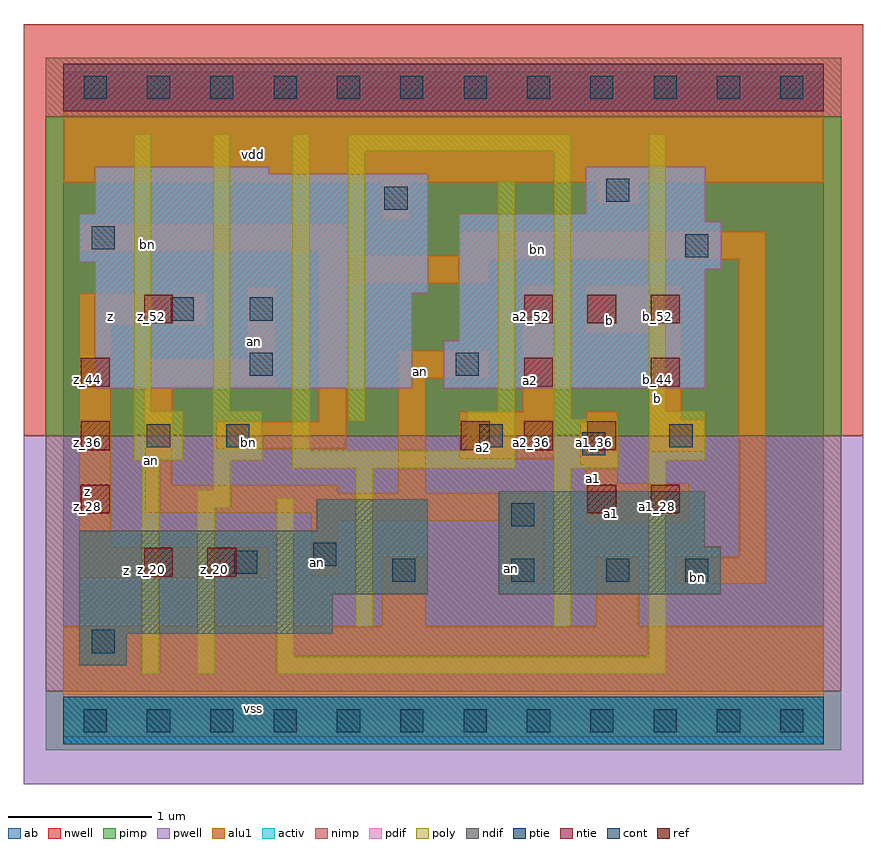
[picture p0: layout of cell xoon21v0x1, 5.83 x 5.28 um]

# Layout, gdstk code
import gdstk
lib = gdstk.Library(unit=1e-6, precision=2.5e-09)
def R(c, l, rs):  # rectangles x0, y0, x1, y1
    for r in rs: c.add(gdstk.rectangle(r[:2], r[2:], *l))
def A(c, l, x, y, w, h, nx, ny, dx, dy):  # array of equal rectangles
    R(c, l, [(x+i*dx, y+j*dy, x+i*dx+w, y+j*dy+h) for i in range(nx) for j in range(ny)])
ndif = (3, 0)
pdif = (4, 0)
ntie = (5, 0)
ptie = (6, 0)
ref = (24, 0)
cont = (25, 0)
pwell = (41, 0)
nwell = (42, 0)
activ = (43, 0)
pimp = (44, 0)
nimp = (45, 0)
poly = (46, 0)
alu1 = (49, 0)
ab = (63, 0)

xoon21v0x1 = lib.new_cell('xoon21v0x1')
R(xoon21v0x1, ndif, [(0.11,0.385,0.44,0.605), (0.11,0.605,1.87,0.88), (0.11,0.88,2.53,1.32), (3.025,0.88,4.565,1.21), (3.025,1.21,4.455,1.595), (1.76,1.32,2.53,1.54)])
R(xoon21v0x1, pdif, [(0.22,2.31,2.42,2.97), (2.64,2.31,4.455,2.64), (2.75,2.64,4.455,3.135), (0.22,2.97,2.53,3.19), (2.75,3.135,4.565,3.465), (0.11,3.19,2.53,3.52), (2.75,3.465,4.455,3.52), (0.22,3.52,2.53,3.795), (3.63,3.52,4.455,3.85), (0.22,3.795,1.43,3.85)])
R(xoon21v0x1, ntie, [(0,4.235,5.28,4.565)])
R(xoon21v0x1, ptie, [(0,-0.165,5.28,0.165)])
A(xoon21v0x1, ref, 0.12, 1.44, 0.2, 0.2, 1, 3, 0, 0.44)
A(xoon21v0x1, ref, 2.76, 1.88, 0.2, 0.2, 3, 1, 0.44, 0)
A(xoon21v0x1, ref, 3.2, 2.76, 0.2, 0.2, 3, 1, 0.44, 0)
R(xoon21v0x1, ref, [(0.56,1,0.76,1.2), (1,1,1.2,1.2), (3.64,1.44,3.84,1.64), (4.08,1.44,4.28,1.64), (3.2,2.32,3.4,2.52), (4.08,2.32,4.28,2.52), (0.56,2.76,0.76,2.96)])
A(xoon21v0x1, cont, 0.14, -0.08, 0.16, 0.16, 12, 2, 0.44, 4.4)
R(xoon21v0x1, cont, [(0.195,0.47,0.355,0.63), (2.285,0.965,2.445,1.125), (3.11,0.965,3.27,1.125), (3.77,0.965,3.93,1.125), (4.32,0.965,4.48,1.125), (1.185,1.02,1.345,1.18), (1.735,1.075,1.895,1.235), (3.11,1.35,3.27,1.51), (3.605,1.845,3.765,2.005), (0.58,1.9,0.74,2.06), (1.13,1.9,1.29,2.06), (2.89,1.9,3.05,2.06), (4.21,1.9,4.37,2.06), (1.295,2.395,1.455,2.555), (2.725,2.395,2.885,2.555), (0.745,2.78,0.905,2.94), (1.295,2.78,1.455,2.94), (4.32,3.22,4.48,3.38), (0.195,3.275,0.355,3.435), (2.23,3.55,2.39,3.71), (3.77,3.605,3.93,3.765)])
R(xoon21v0x1, pwell, [(-0.275,-0.44,5.555,1.98)])
R(xoon21v0x1, nwell, [(-0.275,1.98,5.555,4.84)])
R(xoon21v0x1, activ, [(0,-0.165,5.28,0.165), (0.11,0.385,0.44,0.605), (0.11,0.605,1.87,0.88), (0.11,0.88,2.53,1.32), (3.025,0.88,4.565,1.21), (3.025,1.21,4.455,1.595), (1.76,1.32,2.53,1.54), (0.22,2.31,2.42,2.97), (2.64,2.31,4.455,2.64), (2.75,2.64,4.455,3.135), (0.22,2.97,2.53,3.19), (2.75,3.135,4.565,3.465), (0.11,3.19,2.53,3.52), (2.75,3.465,4.455,3.52), (0.22,3.52,2.53,3.795), (3.63,3.52,4.455,3.85), (0.22,3.795,1.43,3.85), (0,4.235,5.28,4.565)])
R(xoon21v0x1, pimp, [(-0.125,-0.205,5.405,0.205), (-0.125,1.98,5.405,4.195)])
R(xoon21v0x1, nimp, [(-0.125,0.205,5.405,1.98), (-0.125,4.195,5.405,4.605)])
R(xoon21v0x1, poly, [(0.545,0.325,0.665,1.81), (0.93,0.325,1.05,1.48), (1.48,0.325,4.185,0.445), (1.48,0.445,1.6,1.545), (4.065,0.445,4.185,1.81), (2.03,0.655,2.15,1.755), (3.405,0.655,3.525,1.755), (0.93,1.48,1.16,1.6), (1.04,1.6,1.16,1.81), (1.59,1.755,3.14,1.875), (3.405,1.755,3.855,2.095), (0.49,1.81,0.83,2.15), (1.04,1.81,1.38,2.15), (4.065,1.81,4.46,2.15), (1.59,1.875,1.71,4.075), (2.8,1.875,3.14,2.15), (1.975,2.085,2.095,3.955), (3.405,2.095,3.525,3.955), (0.49,2.15,0.61,4.075), (1.04,2.15,1.16,4.075), (3.02,2.15,3.14,3.745), (4.065,2.15,4.185,4.075), (1.975,3.955,3.525,4.075)])
R(xoon21v0x1, alu1, [(0,-0.11,5.28,0.66), (2.215,0.66,2.515,1.14), (3.7,0.66,4,1.14), (3.04,0.95,3.34,1.39), (4.25,0.95,4.88,1.14), (0.11,0.99,1.43,1.21), (1.72,1.005,1.91,1.39), (4.69,1.14,4.88,3.205), (0.11,1.21,0.33,2.75), (3.63,1.375,4.345,1.65), (1.72,1.39,3.34,1.445), (0.565,1.445,3.34,1.58), (0.565,1.58,1.91,1.635), (2.325,1.58,2.515,2.38), (0.565,1.635,0.755,2.325), (3.63,1.65,3.85,1.775), (3.59,1.775,3.85,2.075), (2.75,1.815,3.41,2.145), (4.07,1.87,4.455,2.09), (1.06,1.885,1.965,2.075), (1.775,2.075,1.965,3.04), (3.63,2.075,3.85,2.145), (4.07,2.09,4.29,2.695), (3.19,2.145,3.41,3.025), (0.565,2.325,1.47,2.515), (2.325,2.38,2.955,2.57), (1.28,2.515,1.47,3.01), (3.63,2.695,4.29,3.025), (0.11,2.75,0.99,2.97), (1.775,3.04,2.955,3.205), (1.775,3.205,4.88,3.23), (1.775,3.23,1.965,3.26), (2.765,3.23,4.88,3.395), (0.125,3.26,1.965,3.45), (2.215,3.48,2.405,3.74), (3.7,3.59,4,3.74), (0,3.74,5.28,4.51)])
R(xoon21v0x1, ab, [(0,0,5.28,4.4)])
xoon21v0x1.add(gdstk.Label('vss', (1.32,0.0825), layer=49, texttype=0))
xoon21v0x1.add(gdstk.Label('bn', (4.4075,0.9975), layer=49, texttype=0))
xoon21v0x1.add(gdstk.Label('a1', (3.8075,1.4425), layer=49, texttype=0))
xoon21v0x1.add(gdstk.Label('an', (3.115,1.06), layer=49, texttype=0))
xoon21v0x1.add(gdstk.Label('an', (1.7675,1.1), layer=49, texttype=0))
xoon21v0x1.add(gdstk.Label('z', (0.44,1.045), layer=49, texttype=0))
xoon21v0x1.add(gdstk.Label('a1', (3.685,1.68), layer=49, texttype=0))
xoon21v0x1.add(gdstk.Label('b', (4.125,2.24), layer=49, texttype=0))
xoon21v0x1.add(gdstk.Label('a2', (2.915,1.8975), layer=49, texttype=0))
xoon21v0x1.add(gdstk.Label('b', (3.795,2.7775), layer=49, texttype=0))
xoon21v0x1.add(gdstk.Label('a2', (3.245,2.365), layer=49, texttype=0))
xoon21v0x1.add(gdstk.Label('an', (2.4825,2.4275), layer=49, texttype=0))
xoon21v0x1.add(gdstk.Label('bn', (1.285,1.9325), layer=49, texttype=0))
xoon21v0x1.add(gdstk.Label('an', (0.6125,1.8075), layer=49, texttype=0))
xoon21v0x1.add(gdstk.Label('an', (1.3275,2.6375), layer=49, texttype=0))
xoon21v0x1.add(gdstk.Label('z', (0.165,1.595), layer=49, texttype=0))
xoon21v0x1.add(gdstk.Label('z', (0.33,2.805), layer=49, texttype=0))
xoon21v0x1.add(gdstk.Label('bn', (3.2925,3.27), layer=49, texttype=0))
xoon21v0x1.add(gdstk.Label('bn', (0.585,3.3075), layer=49, texttype=0))
xoon21v0x1.add(gdstk.Label('vdd', (1.32,3.9325), layer=49, texttype=0))
xoon21v0x1.add(gdstk.Label('z_20', (0.61,1.05), layer=24, texttype=0))
xoon21v0x1.add(gdstk.Label('z_52', (0.61,2.81), layer=24, texttype=0))
xoon21v0x1.add(gdstk.Label('z_20', (1.05,1.05), layer=24, texttype=0))
xoon21v0x1.add(gdstk.Label('z_28', (0.17,1.49), layer=24, texttype=0))
xoon21v0x1.add(gdstk.Label('z_36', (0.17,1.93), layer=24, texttype=0))
xoon21v0x1.add(gdstk.Label('z_44', (0.17,2.37), layer=24, texttype=0))
xoon21v0x1.add(gdstk.Label('a2_36', (2.81,1.93), layer=24, texttype=0))
xoon21v0x1.add(gdstk.Label('a2_36', (3.25,1.93), layer=24, texttype=0))
xoon21v0x1.add(gdstk.Label('a2_44', (3.25,2.37), layer=24, texttype=0))
xoon21v0x1.add(gdstk.Label('a2_52', (3.25,2.81), layer=24, texttype=0))
xoon21v0x1.add(gdstk.Label('a1_28', (3.69,1.49), layer=24, texttype=0))
xoon21v0x1.add(gdstk.Label('a1_36', (3.69,1.93), layer=24, texttype=0))
xoon21v0x1.add(gdstk.Label('b_52', (3.69,2.81), layer=24, texttype=0))
xoon21v0x1.add(gdstk.Label('a1_28', (4.13,1.49), layer=24, texttype=0))
xoon21v0x1.add(gdstk.Label('b_44', (4.13,2.37), layer=24, texttype=0))
xoon21v0x1.add(gdstk.Label('b_52', (4.13,2.81), layer=24, texttype=0))

lib.write_gds('xoon21v0x1.gds')
